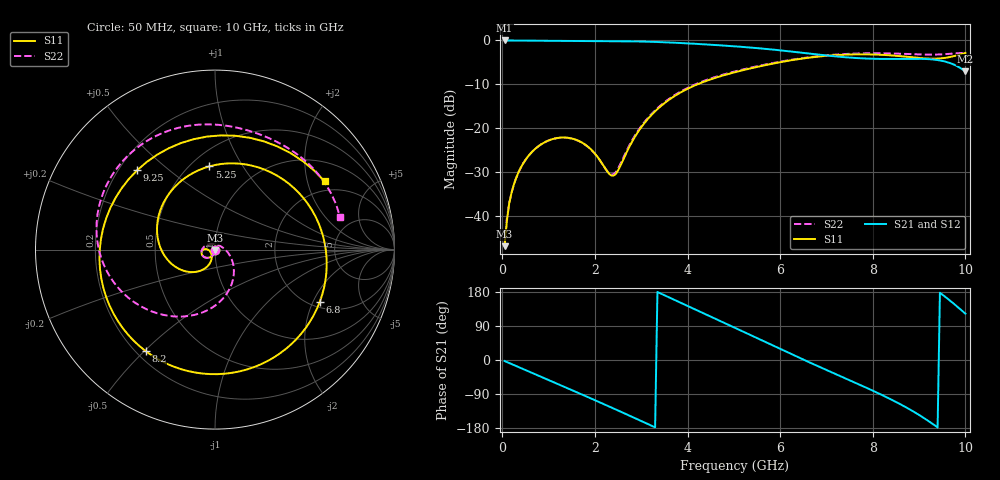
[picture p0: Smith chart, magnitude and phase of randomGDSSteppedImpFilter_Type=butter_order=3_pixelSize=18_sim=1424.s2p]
! freq	dB(S11)	phase(S11)	dB(S12)	phase(S12)
!  dB(S21)	phase(S21)	dB(S22)	phase(S22)
!S-par simulation data
#  GHz  S  DB  R 50
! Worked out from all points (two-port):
!   200 points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, 50 MHz to 10 GHz, reference 50 ohm
!   highest |S21| = -0.01 dB at 50 MHz (marker M1); lowest = -7.1 dB at 10 GHz (marker M2)
!   |S21| within 3 dB of the highest: start of sweep to 6.632 GHz
!   lowest |S11| = -46.9 dB at 50 MHz (marker M3), VSWR 1.01, Z = 50 - j0.45 ohm
!   |S11| at or under -10 dB: start of sweep to 4.218 GHz
!   |S22| runs from -46.3 to -2.8 dB; largest |S21 - S12| = 0
!   S11 on the Smith chart (normalised r, x): 50 MHz: 1.00, -0.01; 5.25 GHz: 0.61, +0.72; 6.8 GHz: 2.23, -2.26; 8.2 GHz: 0.24, -0.51; 9.25 GHz: 0.27, +0.39; 10 GHz: 1.63, +2.57
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0.05  -46.94 -91.7  -0.01 -2.7  -0.01 -2.7  -46.34 -90.5
0.1  -41.11 -93.2  -0.01 -5.4  -0.01 -5.4  -40.51 -93.4
0.2  -34.74 -100.4  -0.02 -10.7  -0.02 -10.7  -34.72 -99.5
0.55  -26.54 -119.9  -0.05 -29.2  -0.05 -29.2  -26.55 -119.2
1.1  -22.45 -149.1  -0.09 -58.2  -0.09 -58.2  -22.48 -149.0
1.75  -23.48 -178.5  -0.13 -92.6  -0.13 -92.6  -23.53 170.6
2.4  -30.87 -146.0  -0.15 -127.7  -0.15 -127.7  -30.54 65.7
2.9  -21.38 -111.2  -0.22 -155.4  -0.22 -155.4  -21.09 -21.3
3.4  -15.20 -133.8  -0.38 176.6  -0.38 176.6  -14.98 -54.4
4.3  -9.65 166.9  -0.85 125.8  -0.85 125.8  -9.44 -96.3
5.05  -7.18 109.9  -1.37 83.4  -1.37 83.4  -7.00 -124.1
5.25  -6.66 93.9  -1.53 72.0  -1.53 72.0  -6.48 -130.9
5.9  -5.17 41.8  -2.15 34.9  -2.15 34.9  -5.04 -152.9
6.7  -3.83 -19.2  -3.09 -10.0  -3.09 -10.0  -3.74 178.6
6.8  -3.71 -26.4  -3.21 -15.5  -3.21 -15.5  -3.61 174.9
7.55  -3.20 -78.5  -3.95 -56.1  -3.95 -56.1  -3.02 145.8
8.2  -3.29 -124.3  -4.22 -92.4  -4.22 -92.4  -2.93 119.0
8.35  -3.38 -135.8  -4.23 -101.3  -4.23 -101.3  -2.96 112.5
8.85  -3.85 179.9  -4.18 -134.0  -4.18 -134.0  -3.14 90.4
9.25  -4.16 134.5  -4.30 -164.9  -4.30 -164.9  -3.24 71.2
9.65  -3.82 79.9  -5.10 158.5  -5.10 158.5  -3.06 47.3
10  -2.86 31.9  -7.08 122.3  -7.08 122.3  -2.85 14.8
